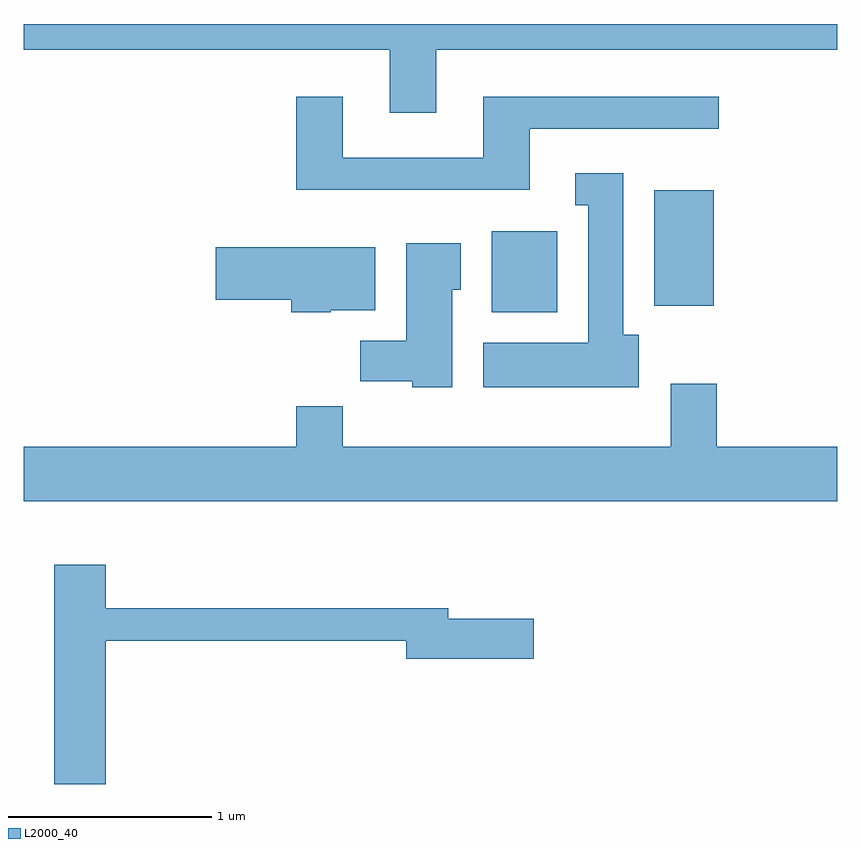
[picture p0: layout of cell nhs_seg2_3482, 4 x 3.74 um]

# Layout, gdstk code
import gdstk
lib = gdstk.Library(unit=1e-6, precision=1e-09)
def R(c, l, rs):  # rectangles x0, y0, x1, y1
    for r in rs: c.add(gdstk.rectangle(r[:2], r[2:], *l))
def P(c, l, *ps):  # polygons
    for p in ps: c.add(gdstk.Polygon(p, *l))
L2000_40 = (2000, 40)

nhs_seg2_3482 = lib.new_cell('nhs_seg2_3482')
R(nhs_seg2_3482, L2000_40, [(289.911,1020.386,290.234,1020.784), (290.711,1020.416,291.004,1020.984)])
P(nhs_seg2_3482, L2000_40, [(289.639,1021.676),(291.611,1021.676),(291.611,1021.802),(287.611,1021.802),(287.611,1021.676),(289.411,1021.676),(289.411,1021.366),(289.639,1021.366)],
  [(290.099,1021.286),(291.028,1021.286),(291.028,1021.444),(289.871,1021.444),(289.871,1021.144),(289.179,1021.144),(289.179,1021.444),(288.951,1021.444),(288.951,1020.986),(290.099,1020.986)],
  [(290.634,1020.274),(290.559,1020.274),(290.559,1021.069),(290.323,1021.069),(290.323,1020.911),(290.386,1020.911),(290.386,1020.234),(289.871,1020.234),(289.871,1020.016),(290.634,1020.016)],
  [(289.719,1020.496),(289.759,1020.496),(289.759,1020.724),(289.491,1020.724),(289.491,1020.244),(289.266,1020.244),(289.266,1020.046),(289.521,1020.046),(289.521,1020.016),(289.719,1020.016)],
  [(289.12,1020.396),(289.339,1020.396),(289.339,1020.704),(288.556,1020.704),(288.556,1020.446),(288.926,1020.446),(288.926,1020.386),(289.12,1020.386)],
  [(291.611,1019.724),(291.019,1019.724),(291.019,1020.034),(290.791,1020.034),(290.791,1019.724),(289.179,1019.724),(289.179,1019.924),(288.951,1019.924),(288.951,1019.724),(287.611,1019.724),(287.611,1019.456),(291.611,1019.456)],
  [(288.014,1018.771),(289.491,1018.771),(289.491,1018.681),(290.119,1018.681),(290.119,1018.879),(289.699,1018.879),(289.699,1018.929),(288.014,1018.929),(288.014,1019.144),(287.761,1019.144),(287.761,1018.066),(288.014,1018.066)])

lib.write_gds('nhs_seg2_3482.gds')
